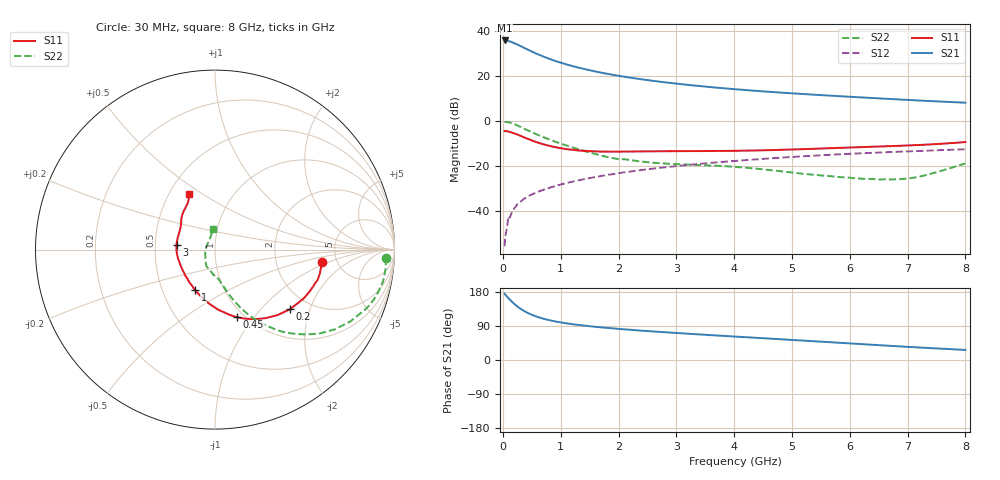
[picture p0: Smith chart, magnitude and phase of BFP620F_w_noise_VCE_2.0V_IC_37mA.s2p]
! Infineon Technologies  Discrete & RF Semiconductors
! BFP620F
! VCE =  2.0 V,  IC =  37 mA
! Common Emitter S-Parameters:  Dec 2014
# GHz  S  MA  R  50
!  f  S11  S21  S12  S22
! GHz  MAG  ANG  MAG  ANG  MAG  ANG  MAG  ANG
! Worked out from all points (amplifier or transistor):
!   95 points, 30 MHz to 8 GHz, reference 50 ohm
!   highest |S21| = 35.7 dB at 30 MHz (marker M1)
!   |S21| within 3 dB of that: start of sweep to 346.3 MHz
!   unconditionally stable (mu >= 1): 2.227 GHz to end of sweep
!   at 300 MHz: K = 0.44, MSG = 34.6 dB, |S12| = -35.8 dB
!   at 3.3 GHz: K = 1.03, MAG = 16.5 dB, |S12| = -19.2 dB
!   at 8 GHz: K = 1.06, MAG = 8.9 dB, |S12| = -12.5 dB
!   lowest NFmin = 1.29 dB at 450 MHz
!   S11 on the Smith chart (normalised r, x): 30 MHz: 3.83, -0.80; 200 MHz: 1.59, -1.48; 450 MHz: 0.92, -0.83; 1 GHz: 0.73, -0.35; 3 GHz: 0.65, +0.04; 8 GHz: 0.63, +0.44
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0.03  0.6011 -6.4  61.09 174.9  0.0017 74.0  0.952 -2.8
0.07  0.5979 -14.2  60.44 167.8  0.0043 86.1  0.9549 -9.4
0.11  0.5798 -22.3  58.56 160.9  0.0073 80.1  0.9346 -15.8
0.15  0.5609 -29.7  56.37 154.8  0.0092 77.4  0.9026 -21.5
0.2  0.5338 -38.5  53.05 147.7  0.0118 76.6  0.8536 -28.0
0.25  0.5042 -46.4  49.7 141.3  0.0144 73.0  0.8022 -33.6
0.3  0.4746 -53.6  46.33 135.7  0.0162 69.6  0.7492 -38.5
0.35  0.4459 -60.4  43.01 130.8  0.0183 70.2  0.6978 -42.7
0.45  0.3964 -72.0  37.29 122.7  0.0221 68.0  0.6082 -49.5
0.5  0.373 -77.2  34.76 119.3  0.0237 68.3  0.5678 -52.3
0.6  0.3359 -86.8  30.43 113.6  0.027 67.6  0.4976 -56.9
0.7  0.3066 -95.0  26.93 109.0  0.0301 67.1  0.4412 -60.7
0.8  0.2846 -102.7  24.03 105.2  0.0332 66.8  0.3934 -63.7
1  0.2518 -116.2  19.69 99.2  0.0395 66.8  0.3186 -68.5
1.4  0.2204 -138.2  14.32 90.9  0.0517 66.2  0.2195 -76.1
2  0.2102 -162.3  10.09 82.2  0.0703 64.6  0.1442 -89.0
2.7  0.2149 179.3  7.501 74.3  0.0918 61.4  0.1172 -104.8
3  0.2159 172.8  6.764 71.3  0.1008 59.8  0.1119 -110.0
4.1  0.221 154.4  4.983 61.0  0.1339 53.6  0.0952 -122.0
5.4  0.2445 140.4  3.833 49.3  0.1723 45.1  0.0648 -146.8
6.7  0.2792 127.8  3.089 37.4  0.2062 35.9  0.0511 157.3
8  0.3439 115.0  2.559 26.5  0.2379 27.0  0.1151 96.0
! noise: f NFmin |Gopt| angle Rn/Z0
0.45  1.29  0.13  -172  0.16
0.9  1.32  0.13  -172  0.13
1.5  1.33  0.17  -151  0.11
1.8  1.34  0.18  -151  0.12
1.9  1.35  0.18  -150  0.12
2.4  1.37  0.19  215  0.14
3.5  1.43  0.19  219  0.18
5.5  1.57  0.25  245  0.16
6  1.61  0.26  261  0.18
